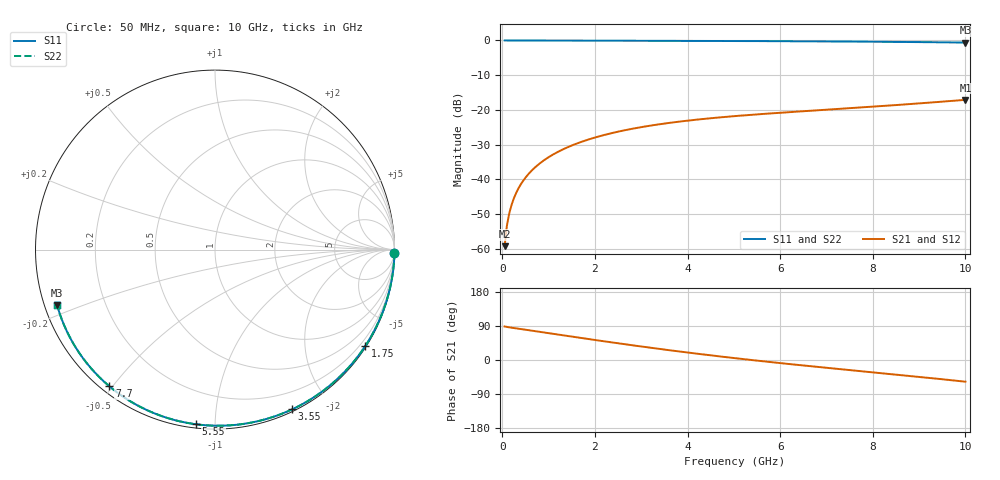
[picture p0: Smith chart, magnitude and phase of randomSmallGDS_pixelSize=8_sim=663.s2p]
! freq	dB(S11)	phase(S11)	dB(S12)	phase(S12)
!  dB(S21)	phase(S21)	dB(S22)	phase(S22)
!S-par simulation data
#  GHz  S  DB  R 50
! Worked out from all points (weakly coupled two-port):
!   200 points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, 50 MHz to 10 GHz, reference 50 ohm
!   highest |S21| = -17.10 dB at 10 GHz (marker M1); lowest = -59.2 dB at 50 MHz (marker M2)
!   lowest |S11| = -0.6 dB at 10 GHz (marker M3), VSWR 28.66, Z = 1.8 - j8.58 ohm
!   |S11| at or under -10 dB: nowhere
!   |S22| runs from -0.6 to 0.0 dB; largest |S21 - S12| = 0
!   S11 on the Smith chart (normalised r, x): 50 MHz: open; 1.75 GHz: 0.03, -3.42; 3.55 GHz: 0.02, -1.59; 5.55 GHz: 0.02, -0.90; 7.7 GHz: 0.02, -0.49; 10 GHz: 0.04, -0.17
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0.05  -0.00 -1.0  -59.22 88.5  -59.22 88.5  -0.00 -1.0
0.1  -0.00 -1.9  -53.26 87.2  -53.26 87.2  -0.00 -1.9
0.15  -0.00 -2.9  -49.80 86.2  -49.80 86.2  -0.00 -2.9
0.2  -0.00 -3.8  -47.34 85.2  -47.34 85.2  -0.00 -3.8
0.25  -0.00 -4.8  -45.44 84.3  -45.44 84.3  -0.00 -4.8
0.35  -0.01 -6.6  -42.56 82.6  -42.56 82.6  -0.01 -6.7
0.5  -0.01 -9.5  -39.51 79.9  -39.51 79.9  -0.01 -9.5
0.7  -0.02 -13.2  -36.63 76.3  -36.63 76.3  -0.02 -13.2
1  -0.02 -18.8  -33.61 70.9  -33.61 70.9  -0.02 -18.8
1.35  -0.03 -25.3  -31.10 64.5  -31.10 64.5  -0.03 -25.3
1.75  -0.05 -32.6  -29.00 57.3  -29.00 57.3  -0.05 -32.6
2.6  -0.07 -47.9  -25.97 42.4  -25.97 42.4  -0.07 -47.9
3.4  -0.10 -61.7  -24.11 29.2  -24.11 29.2  -0.10 -61.7
3.55  -0.10 -64.2  -23.83 26.8  -23.83 26.8  -0.10 -64.2
4.3  -0.13 -76.6  -22.66 15.3  -22.66 15.3  -0.13 -76.6
5.05  -0.16 -88.5  -21.75 4.5  -21.75 4.5  -0.16 -88.5
5.55  -0.18 -96.2  -21.24 -2.3  -21.24 -2.3  -0.18 -96.2
6.7  -0.25 -113.3  -20.20 -16.9  -20.20 -16.9  -0.25 -113.3
7.7  -0.33 -127.7  -19.34 -28.9  -19.34 -28.9  -0.33 -127.7
8.35  -0.40 -136.9  -18.75 -36.7  -18.75 -36.7  -0.40 -136.9
9.2  -0.49 -149.0  -17.92 -47.0  -17.92 -47.0  -0.49 -149.0
10  -0.61 -160.5  -17.10 -57.3  -17.10 -57.3  -0.61 -160.6
